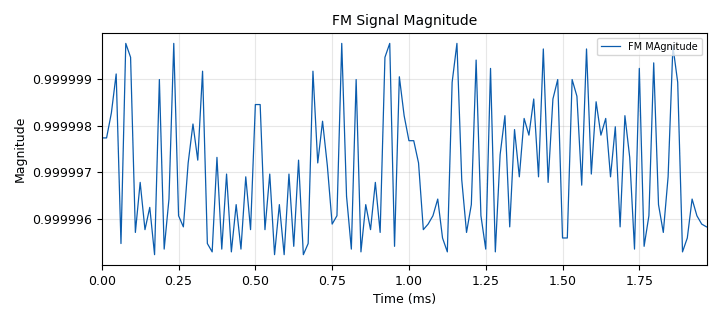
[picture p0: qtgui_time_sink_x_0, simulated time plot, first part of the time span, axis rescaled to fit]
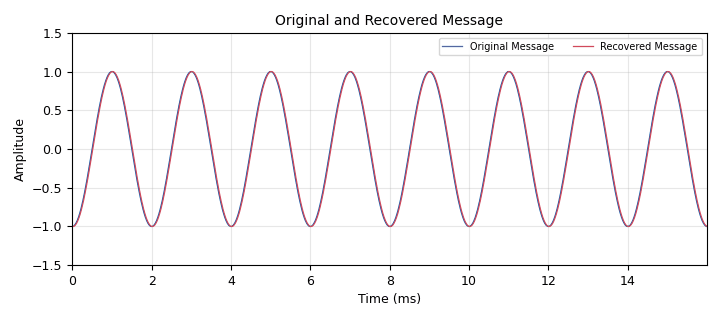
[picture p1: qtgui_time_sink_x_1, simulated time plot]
options:
  parameters:
    author: Dhrubjun
    generate_options: qt_gui
    id: exp5
    output_language: python
    title: FM with Amplitude Noise
  states: {}

blocks:
- name: amp_noise
  id: variable_qtgui_range
  parameters:
    label: Amplitude Noise Level
    start: '0'
    step: '0.05'
    stop: '0.5'
    value: '0'
  states: {}
- name: amp_scale
  id: variable_qtgui_range
  parameters:
    label: FM Amplitude Scale
    start: '0.1'
    step: '0.1'
    stop: '2'
    value: '1'
  states: {}
- name: fc
  id: variable
  parameters:
    value: '10000'
  states: {}
- name: fm
  id: variable_qtgui_range
  parameters:
    label: |
      Message Frequency (Hz)
    start: '250'
    step: '250'
    stop: '2000'
    value: '500'
  states: {}
- name: freq_dev
  id: variable_qtgui_range
  parameters:
    label: Frequency Deviation (Hz)
    start: '0'
    step: '50'
    stop: '5000'
    value: '2000'
  states: {}
- name: samp_rate
  id: variable
  parameters:
    value: '64000'
  states: {}
- name: analog_noise_source_x_0
  id: analog_noise_source_x
  parameters:
    amp: amp_noise
    noise_type: analog.GR_GAUSSIAN
    seed: '0'
    type: float
  states: {}
- name: analog_quadrature_demod_cf_0
  id: analog_quadrature_demod_cf
  parameters:
    gain: samp_rate/(2*pi)
  states: {}
- name: analog_sig_source_x_0
  id: analog_sig_source_x
  parameters:
    amp: '1'
    freq: fm
    offset: '0'
    phase: '0'
    samp_rate: samp_rate
    type: float
    waveform: analog.GR_COS_WAVE
  states: {}
- name: blocks_add_const_vxx_0
  id: blocks_add_const_vxx
  parameters:
    const: fc
    type: float
  states: {}
- name: blocks_add_const_vxx_0_0
  id: blocks_add_const_vxx
  parameters:
    const: '-fc'
    type: float
  states: {}
- name: blocks_add_const_vxx_0_1
  id: blocks_add_const_vxx
  parameters:
    const: '1'
    type: float
  states: {}
- name: blocks_complex_to_mag_0
  id: blocks_complex_to_mag
  parameters: {}
  states: {}
- name: blocks_float_to_complex_0
  id: blocks_float_to_complex
  parameters: {}
  states: {}
- name: blocks_multiply_const_vxx_0
  id: blocks_multiply_const_vxx
  parameters:
    const: freq_dev
    type: float
  states: {}
- name: blocks_multiply_const_vxx_0_0
  id: blocks_multiply_const_vxx
  parameters:
    const: 1/freq_dev
    type: float
  states: {}
- name: blocks_multiply_const_vxx_1
  id: blocks_multiply_const_vxx
  parameters:
    const: amp_scale
    type: complex
  states: {}
- name: blocks_multiply_xx_0
  id: blocks_multiply_xx
  parameters:
    type: complex
  states: {}
- name: blocks_throttle2_0
  id: blocks_throttle2
  parameters:
    samples_per_second: samp_rate
    type: complex
  states: {}
- name: blocks_vco_c_0
  id: blocks_vco_c
  parameters:
    amplitude: '1'
    samp_rate: samp_rate
    sensitivity: 2*pi
  states: {}
- name: import_0
  id: import
  parameters:
    imports: from math import pi
  states: {}
- name: qtgui_time_sink_x_0
  id: qtgui_time_sink_x
  parameters:
    label1: FM MAgnitude
    name: FM Signal Magnitude
    size: '1024'
    srate: samp_rate
    type: float
    ylabel: Magnitude
    ymax: '2'
    ymin: '0'
    yunit: ''
  states: {}
- name: qtgui_time_sink_x_1
  id: qtgui_time_sink_x
  parameters:
    label1: Original Message
    label2: Recovered Message
    name: Original and Recovered Message
    nconnections: '2'
    size: '1024'
    srate: samp_rate
    type: float
    ymax: '1.5'
    ymin: '-1.5'
  states: {}

connections:
- [analog_noise_source_x_0, '0', blocks_add_const_vxx_0_1, '0']
- [analog_quadrature_demod_cf_0, '0', blocks_add_const_vxx_0_0, '0']
- [analog_sig_source_x_0, '0', blocks_multiply_const_vxx_0, '0']
- [analog_sig_source_x_0, '0', qtgui_time_sink_x_1, '0']
- [blocks_add_const_vxx_0, '0', blocks_vco_c_0, '0']
- [blocks_add_const_vxx_0_0, '0', blocks_multiply_const_vxx_0_0, '0']
- [blocks_add_const_vxx_0_1, '0', blocks_float_to_complex_0, '0']
- [blocks_complex_to_mag_0, '0', qtgui_time_sink_x_0, '0']
- [blocks_float_to_complex_0, '0', blocks_multiply_xx_0, '1']
- [blocks_multiply_const_vxx_0, '0', blocks_add_const_vxx_0, '0']
- [blocks_multiply_const_vxx_0_0, '0', qtgui_time_sink_x_1, '1']
- [blocks_multiply_const_vxx_1, '0', blocks_throttle2_0, '0']
- [blocks_multiply_xx_0, '0', analog_quadrature_demod_cf_0, '0']
- [blocks_multiply_xx_0, '0', blocks_complex_to_mag_0, '0']
- [blocks_throttle2_0, '0', blocks_multiply_xx_0, '0']
- [blocks_vco_c_0, '0', blocks_multiply_const_vxx_1, '0']

metadata:
  file_format: 1
  grc_version: 3.10.12.0
